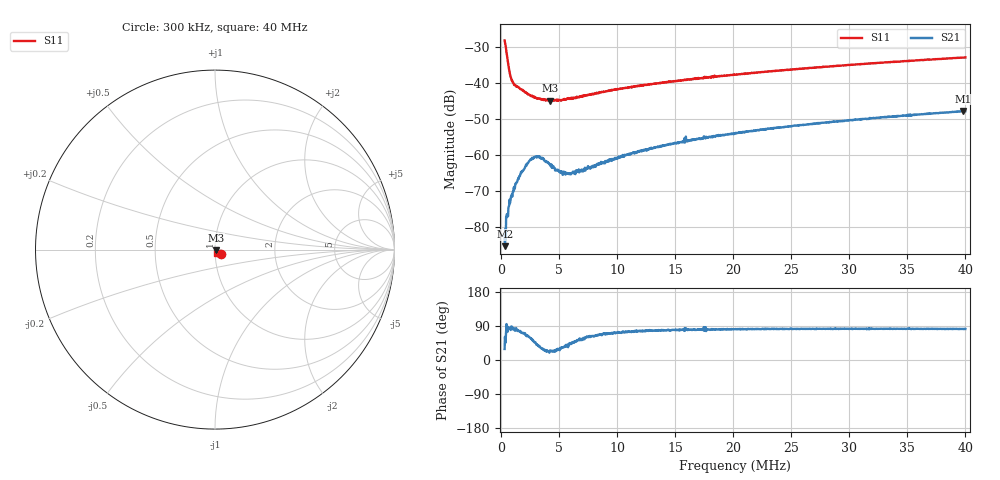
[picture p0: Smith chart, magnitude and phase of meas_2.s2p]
# HZ S RI R 50
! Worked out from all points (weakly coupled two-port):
!   1206 points, 300 kHz to 40 MHz, reference 50 ohm
!   highest |S21| = -47.78 dB at 39.84 MHz (marker M1); lowest = -85.4 dB at 332.9 kHz (marker M2)
!   lowest |S11| = -44.9 dB at 4.254 MHz (marker M3), VSWR 1.01, Z = 50.5 - j0.301 ohm
!   |S11| at or under -10 dB: start of sweep to end of sweep
!   S12 and S22 are empty: the file has one direction only
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300000  0.0321 -0.0225  6.74e-05 3.75e-05  0 0  0 0
332946  0.0266 -0.0254  2.58e-05 4.73e-05  0 0  0 0
464730  0.0159 -0.0214  -1.15e-05 0.000135  0 0  0 0
728298  0.00639 -0.0127  3.14e-05 0.000237  0 0  0 0
991866  0.00607 -0.00838  4.46e-05 0.00029  0 0  0 0
1617840  0.00603 -0.00584  0.000134 0.00049  0 0  0 0
2342652  0.00514 -0.00469  0.000356 0.000705  0 0  0 0
2705058  0.00502 -0.00415  0.00052 0.000716  0 0  0 0
3100410  0.00496 -0.0037  0.000734 0.000622  0 0  0 0
3495762  0.00491 -0.00348  0.000787 0.000459  0 0  0 0
4253520  0.00484 -0.00298  0.000641 0.00029  0 0  0 0
4846548  0.00501 -0.00269  0.000557 0.000281  0 0  0 0
5439576  0.00546 -0.00256  0.000449 0.000317  0 0  0 0
6922146  0.00589 -0.00261  0.000354 0.000516  0 0  0 0
1.084272e7  0.00734 -0.0045  0.000297 0.000977  0 0  0 0
1.354429e7  0.00777 -0.00622  0.000276 0.00128  0 0  0 0
1.59164e7  0.00793 -0.00775  0.000189 0.00179  0 0  0 0
2.016644e7  0.00834 -0.0102  0.000301 0.00197  0 0  0 0
2.678858e7  0.00846 -0.0139  0.000357 0.00267  0 0  0 0
3.341073e7  0.00867 -0.0176  0.000458 0.00334  0 0  0 0
3.98352e7  0.00875 -0.0209  0.000563 0.00405  0 0  0 0
3.999993e7  0.00871 -0.0211  0.000569 0.00402  0 0  0 0
